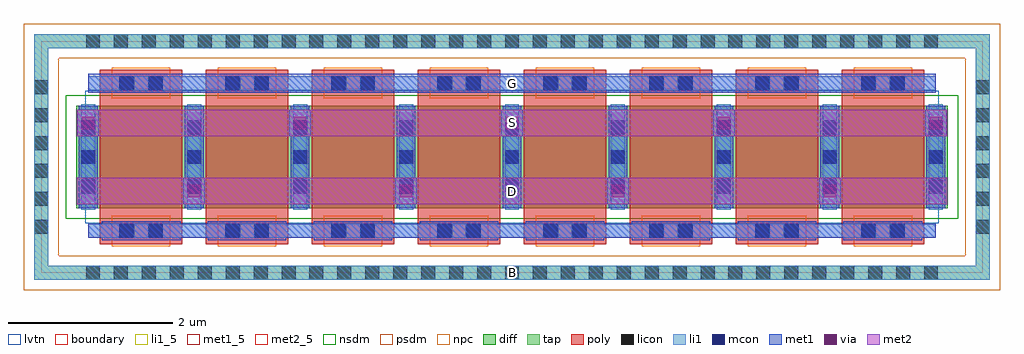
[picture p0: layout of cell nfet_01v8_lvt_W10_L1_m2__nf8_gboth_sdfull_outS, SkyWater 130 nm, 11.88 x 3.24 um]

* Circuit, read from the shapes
.subckt nfet_01v8_lvt_W10_L1_m2__nf8_gboth_sdfull_outS B D G S
XM1 D G S B sky130_fd_pr__nfet_01v8_lvt w=1.25 l=1 m=8
.ends

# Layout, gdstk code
import gdstk
lib = gdstk.Library(unit=1e-6, precision=1e-09)
def R(c, l, rs):  # rectangles x0, y0, x1, y1
    for r in rs: c.add(gdstk.rectangle(r[:2], r[2:], *l))
def A(c, l, x, y, w, h, nx, ny, dx, dy):  # array of equal rectangles
    R(c, l, [(x+i*dx, y+j*dy, x+i*dx+w, y+j*dy+h) for i in range(nx) for j in range(ny)])
diff = (65, 20)
tap = (65, 44)
poly = (66, 20)
licon = (66, 44)
li1_5 = (67, 5)
li1 = (67, 20)
mcon = (67, 44)
met1_5 = (68, 5)
met1 = (68, 20)
via = (68, 44)
met2_5 = (69, 5)
met2 = (69, 20)
nsdm = (93, 44)
psdm = (94, 20)
npc = (95, 20)
lvtn = (125, 44)
boundary = (235, 4)

sky130_fd_pr__nfet_01v8_ = lib.new_cell('sky130_fd_pr__nfet_01v8_lvt_QXL9VH')
R(sky130_fd_pr__nfet_01v8_, diff, [(-5.305,-0.625,5.305,0.625)])
R(sky130_fd_pr__nfet_01v8_, tap, [(-5.815,-1.495,5.815,-1.325), (-5.815,-1.325,-5.645,1.325), (5.645,-1.325,5.815,1.325), (-5.815,1.325,5.815,1.495)])
A(sky130_fd_pr__nfet_01v8_, poly, -5.015, -1.065, 1, 2.13, 8, 1, 1.29, 0)
A(sky130_fd_pr__nfet_01v8_, licon, -5.185, -1.495, 0.17, 0.17, 31, 2, 0.34, 2.82)
A(sky130_fd_pr__nfet_01v8_, licon, -5.815, -0.935, 0.17, 0.17, 1, 6, 0, 0.34)
A(sky130_fd_pr__nfet_01v8_, licon, 5.645, -0.935, 0.17, 0.17, 1, 6, 0, 0.34)
A(sky130_fd_pr__nfet_01v8_, licon, -5.245, -0.425, 0.17, 0.17, 9, 3, 1.29, 0.34)
R(sky130_fd_pr__nfet_01v8_, licon, [(-4.77,-0.985,-4.6,-0.815), (-4.43,-0.985,-4.26,-0.815), (-3.48,-0.985,-3.31,-0.815), (-3.14,-0.985,-2.97,-0.815), (-2.19,-0.985,-2.02,-0.815), (-1.85,-0.985,-1.68,-0.815), (-0.9,-0.985,-0.73,-0.815), (-0.56,-0.985,-0.39,-0.815), (0.39,-0.985,0.56,-0.815), (0.73,-0.985,0.9,-0.815), (1.68,-0.985,1.85,-0.815), (2.02,-0.985,2.19,-0.815), (2.97,-0.985,3.14,-0.815), (3.31,-0.985,3.48,-0.815), (4.26,-0.985,4.43,-0.815), (4.6,-0.985,4.77,-0.815), (-4.77,0.815,-4.6,0.985), (-4.43,0.815,-4.26,0.985), (-3.48,0.815,-3.31,0.985), (-3.14,0.815,-2.97,0.985), (-2.19,0.815,-2.02,0.985), (-1.85,0.815,-1.68,0.985), (-0.9,0.815,-0.73,0.985), (-0.56,0.815,-0.39,0.985), (0.39,0.815,0.56,0.985), (0.73,0.815,0.9,0.985), (1.68,0.815,1.85,0.985), (2.02,0.815,2.19,0.985), (2.97,0.815,3.14,0.985), (3.31,0.815,3.48,0.985), (4.26,0.815,4.43,0.985), (4.6,0.815,4.77,0.985)])
A(sky130_fd_pr__nfet_01v8_, li1, -5.245, -0.645, 0.17, 1.29, 9, 1, 1.29, 0)
R(sky130_fd_pr__nfet_01v8_, li1, [(-5.815,-1.495,5.815,-1.325), (-5.815,-1.325,-5.645,1.325), (5.645,-1.325,5.815,1.325), (-5.16,-0.985,5.16,-0.815), (-5.16,0.815,5.16,0.985), (-5.815,1.325,5.815,1.495)])
A(sky130_fd_pr__nfet_01v8_, mcon, -5.245, -0.445, 0.17, 0.17, 9, 3, 1.29, 0.36)
R(sky130_fd_pr__nfet_01v8_, mcon, [(-4.78,-0.985,-4.61,-0.815), (-4.42,-0.985,-4.25,-0.815), (-3.49,-0.985,-3.32,-0.815), (-3.13,-0.985,-2.96,-0.815), (-2.2,-0.985,-2.03,-0.815), (-1.84,-0.985,-1.67,-0.815), (-0.91,-0.985,-0.74,-0.815), (-0.55,-0.985,-0.38,-0.815), (0.38,-0.985,0.55,-0.815), (0.74,-0.985,0.91,-0.815), (1.67,-0.985,1.84,-0.815), (2.03,-0.985,2.2,-0.815), (2.96,-0.985,3.13,-0.815), (3.32,-0.985,3.49,-0.815), (4.25,-0.985,4.42,-0.815), (4.61,-0.985,4.78,-0.815), (-4.78,0.815,-4.61,0.985), (-4.42,0.815,-4.25,0.985), (-3.49,0.815,-3.32,0.985), (-3.13,0.815,-2.96,0.985), (-2.2,0.815,-2.03,0.985), (-1.84,0.815,-1.67,0.985), (-0.91,0.815,-0.74,0.985), (-0.55,0.815,-0.38,0.985), (0.38,0.815,0.55,0.985), (0.74,0.815,0.91,0.985), (1.67,0.815,1.84,0.985), (2.03,0.815,2.2,0.985), (2.96,0.815,3.13,0.985), (3.32,0.815,3.49,0.985), (4.25,0.815,4.42,0.985), (4.61,0.815,4.78,0.985)])
A(sky130_fd_pr__nfet_01v8_, met1, -4.995, -1.015, 0.96, 0.03, 8, 2, 1.29, 0.2)
A(sky130_fd_pr__nfet_01v8_, met1, -5.275, -0.625, 0.23, 1.25, 9, 1, 1.29, 0)
A(sky130_fd_pr__nfet_01v8_, met1, -4.995, 0.785, 0.96, 0.03, 8, 2, 1.29, 0.2)
R(sky130_fd_pr__nfet_01v8_, met1, [(-5.16,-0.985,5.16,-0.815), (-5.16,0.815,5.16,0.985)])
R(sky130_fd_pr__nfet_01v8_, nsdm, [(-5.43,-0.75,5.43,0.75)])
R(sky130_fd_pr__nfet_01v8_, psdm, [(-5.94,-1.62,5.94,-1.2), (-5.94,-1.2,-5.52,1.2), (5.52,-1.2,5.94,1.2), (-5.94,1.2,5.94,1.62)])
A(sky130_fd_pr__nfet_01v8_, npc, -4.87, -1.085, 0.71, 0.37, 8, 2, 1.29, 1.8)
R(sky130_fd_pr__nfet_01v8_, lvtn, [(-5.195,-0.805,5.195,0.805)])
R(sky130_fd_pr__nfet_01v8_, boundary, [(-5.73,-1.41,5.73,1.41)])
sky130_fd_pr__nfet_01v8_.add(gdstk.Label('B', (0,-1.41), layer=67, texttype=5))
sky130_fd_pr__nfet_01v8_.add(gdstk.Label('D0', (-5.16,0), layer=67, texttype=5))
sky130_fd_pr__nfet_01v8_.add(gdstk.Label('G', (4.515,0.9), layer=67, texttype=5))
sky130_fd_pr__nfet_01v8_.add(gdstk.Label('G', (3.225,0.9), layer=67, texttype=5))
sky130_fd_pr__nfet_01v8_.add(gdstk.Label('G', (1.935,0.9), layer=67, texttype=5))
sky130_fd_pr__nfet_01v8_.add(gdstk.Label('G', (0.645,0.9), layer=67, texttype=5))
sky130_fd_pr__nfet_01v8_.add(gdstk.Label('G', (-0.645,0.9), layer=67, texttype=5))
sky130_fd_pr__nfet_01v8_.add(gdstk.Label('G', (-1.935,0.9), layer=67, texttype=5))
sky130_fd_pr__nfet_01v8_.add(gdstk.Label('G', (-3.225,0.9), layer=67, texttype=5))
sky130_fd_pr__nfet_01v8_.add(gdstk.Label('G', (-4.515,0.9), layer=67, texttype=5))
sky130_fd_pr__nfet_01v8_.add(gdstk.Label('S1', (-3.87,0), layer=67, texttype=5))
sky130_fd_pr__nfet_01v8_.add(gdstk.Label('D2', (-2.58,0), layer=67, texttype=5))
sky130_fd_pr__nfet_01v8_.add(gdstk.Label('S3', (-1.29,0), layer=67, texttype=5))
sky130_fd_pr__nfet_01v8_.add(gdstk.Label('D4', (0,0), layer=67, texttype=5))
sky130_fd_pr__nfet_01v8_.add(gdstk.Label('S5', (1.29,0), layer=67, texttype=5))
sky130_fd_pr__nfet_01v8_.add(gdstk.Label('D6', (2.58,0), layer=67, texttype=5))
sky130_fd_pr__nfet_01v8_.add(gdstk.Label('S7', (3.87,0), layer=67, texttype=5))

nfet_01v8_lvt_w10_l1_m2_ = lib.new_cell('nfet_01v8_lvt_W10_L1_m2__nf8_gboth_sdfull_outS')
R(nfet_01v8_lvt_w10_l1_m2_, li1_5, [(5.645,-0.085,5.815,0.085)])
R(nfet_01v8_lvt_w10_l1_m2_, li1, [(5.645,-0.085,5.815,0.085)])
R(nfet_01v8_lvt_w10_l1_m2_, met1_5, [(0.57,2.195,10.89,2.425)])
A(nfet_01v8_lvt_w10_l1_m2_, met1, 1.73, 0.835, 0.26, 0.32, 4, 1, 2.58, 0)
A(nfet_01v8_lvt_w10_l1_m2_, met1, 0.44, 1.665, 0.26, 0.32, 5, 1, 2.58, 0)
R(nfet_01v8_lvt_w10_l1_m2_, met1, [(0.57,2.195,10.89,2.425)])
A(nfet_01v8_lvt_w10_l1_m2_, via, 1.785, 0.92, 0.15, 0.15, 4, 1, 2.58, 0)
A(nfet_01v8_lvt_w10_l1_m2_, via, 0.495, 1.75, 0.15, 0.15, 5, 1, 2.58, 0)
R(nfet_01v8_lvt_w10_l1_m2_, met2_5, [(0.435,0.835,11.025,1.155), (0.435,1.665,11.025,1.985)])
R(nfet_01v8_lvt_w10_l1_m2_, met2, [(0.435,0.835,11.025,1.155), (0.435,1.665,11.025,1.985)])
nfet_01v8_lvt_w10_l1_m2_.add(gdstk.Reference(sky130_fd_pr__nfet_01v8_, (5.73,1.41)))
nfet_01v8_lvt_w10_l1_m2_.add(gdstk.Label('S', (5.73,1.825), layer=69, texttype=5))
nfet_01v8_lvt_w10_l1_m2_.add(gdstk.Label('D', (5.73,0.995), layer=69, texttype=5))
nfet_01v8_lvt_w10_l1_m2_.add(gdstk.Label('G', (5.73,2.31), layer=68, texttype=5))
nfet_01v8_lvt_w10_l1_m2_.add(gdstk.Label('B', (5.73,0), layer=67, texttype=5))

lib.write_gds('nfet_01v8_lvt_W10_L1_m2__nf8_gboth_sdfull_outS.gds')
